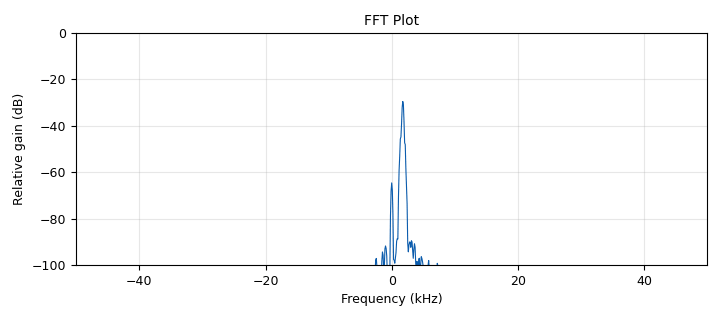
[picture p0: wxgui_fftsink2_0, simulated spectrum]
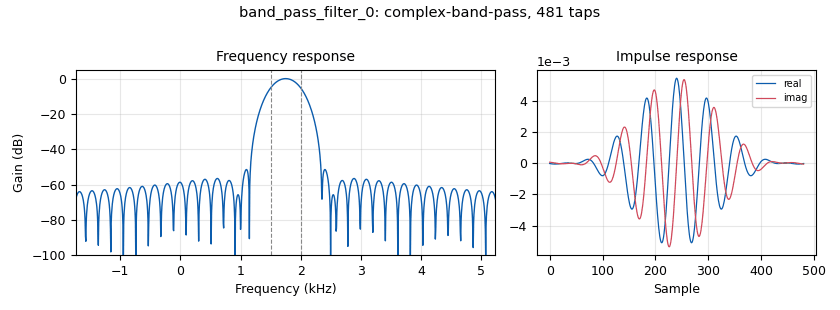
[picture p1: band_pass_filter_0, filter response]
<?xml version='1.0' encoding='utf-8'?>
<?grc format='1' created='3.7.9'?>
<flow_graph>
<block>
<key>options</key>
<param><key>id</key><value>file-dump-1</value></param>
<param><key>category</key><value>Custom</value></param>
<param><key>generate_options</key><value>wx_gui</value></param>
</block>
<block>
<key>variable_slider</key>
<param><key>id</key><value>s0</value></param>
<param><key>converver</key><value>int_converter</value></param>
<param><key>value</key><value>1000</value></param>
<param><key>label</key><value></value></param>
<param><key>max</key><value>200000</value></param>
<param><key>min</key><value>1000</value></param>
<param><key>num_steps</key><value>1000</value></param>
<param><key>style</key><value>wx.SL_HORIZONTAL</value></param>
</block>
<block>
<key>variable_slider</key>
<param><key>id</key><value>s1</value></param>
<param><key>converver</key><value>int_converter</value></param>
<param><key>value</key><value>1000</value></param>
<param><key>label</key><value></value></param>
<param><key>max</key><value>200000</value></param>
<param><key>min</key><value>1000</value></param>
<param><key>num_steps</key><value>1000</value></param>
<param><key>style</key><value>wx.SL_HORIZONTAL</value></param>
</block>
<block>
<key>variable</key>
<param><key>id</key><value>samp_rate</value></param>
<param><key>value</key><value>int(100E3)</value></param>
</block>
<block>
<key>analog_random_source_x</key>
<param><key>id</key><value>analog_random_source_x_0</value></param>
<param><key>max</key><value>2</value></param>
<param><key>min</key><value>0</value></param>
<param><key>num_samps</key><value>100000</value></param>
<param><key>type</key><value>short</value></param>
<param><key>repeat</key><value>True</value></param>
</block>
<block>
<key>band_pass_filter</key>
<param><key>id</key><value>band_pass_filter_0</value></param>
<param><key>decim</key><value>1</value></param>
<param><key>type</key><value>fir_filter_ccc</value></param>
<param><key>gain</key><value>1</value></param>
<param><key>high_cutoff_freq</key><value>1E3+s1</value></param>
<param><key>low_cutoff_freq</key><value>500+s0</value></param>
<param><key>samp_rate</key><value>samp_rate</value></param>
<param><key>width</key><value>500</value></param>
<param><key>win</key><value>firdes.WIN_HAMMING</value></param>
</block>
<block>
<key>blocks_file_sink</key>
<param><key>id</key><value>blocks_file_sink_0</value></param>
<param><key>_enabled</key><value>0</value></param>
<param><key>type</key><value>complex</value></param>
</block>
<block>
<key>blocks_interleaved_short_to_complex</key>
<param><key>id</key><value>blocks_interleaved_short_to_complex_0</value></param>
<param><key>vector_input</key><value>False</value></param>
</block>
<block>
<key>blocks_throttle</key>
<param><key>id</key><value>blocks_throttle_0</value></param>
<param><key>samples_per_second</key><value>samp_rate</value></param>
<param><key>type</key><value>complex</value></param>
</block>
<block>
<key>wxgui_fftsink2</key>
<param><key>id</key><value>wxgui_fftsink2_0</value></param>
<param><key>avg_alpha</key><value>0</value></param>
<param><key>average</key><value>False</value></param>
<param><key>baseband_freq</key><value>0</value></param>
<param><key>fft_size</key><value>1024</value></param>
<param><key>freqvar</key><value>None</value></param>
<param><key>peak_hold</key><value>False</value></param>
<param><key>ref_level</key><value>0</value></param>
<param><key>ref_scale</key><value>2.0</value></param>
<param><key>fft_rate</key><value>15</value></param>
<param><key>samp_rate</key><value>samp_rate</value></param>
<param><key>title</key><value>FFT Plot</value></param>
<param><key>type</key><value>complex</value></param>
<param><key>win</key><value>None</value></param>
<param><key>y_divs</key><value>10</value></param>
<param><key>y_per_div</key><value>10</value></param>
</block>
<connection><source_block_id>analog_random_source_x_0</source_block_id><sink_block_id>blocks_interleaved_short_to_complex_0</sink_block_id><source_key>0</source_key><sink_key>0</sink_key></connection>
<connection><source_block_id>band_pass_filter_0</source_block_id><sink_block_id>wxgui_fftsink2_0</sink_block_id><source_key>0</source_key><sink_key>0</sink_key></connection>
<connection><source_block_id>blocks_interleaved_short_to_complex_0</source_block_id><sink_block_id>blocks_throttle_0</sink_block_id><source_key>0</source_key><sink_key>0</sink_key></connection>
<connection><source_block_id>blocks_throttle_0</source_block_id><sink_block_id>band_pass_filter_0</sink_block_id><source_key>0</source_key><sink_key>0</sink_key></connection>
</flow_graph>
